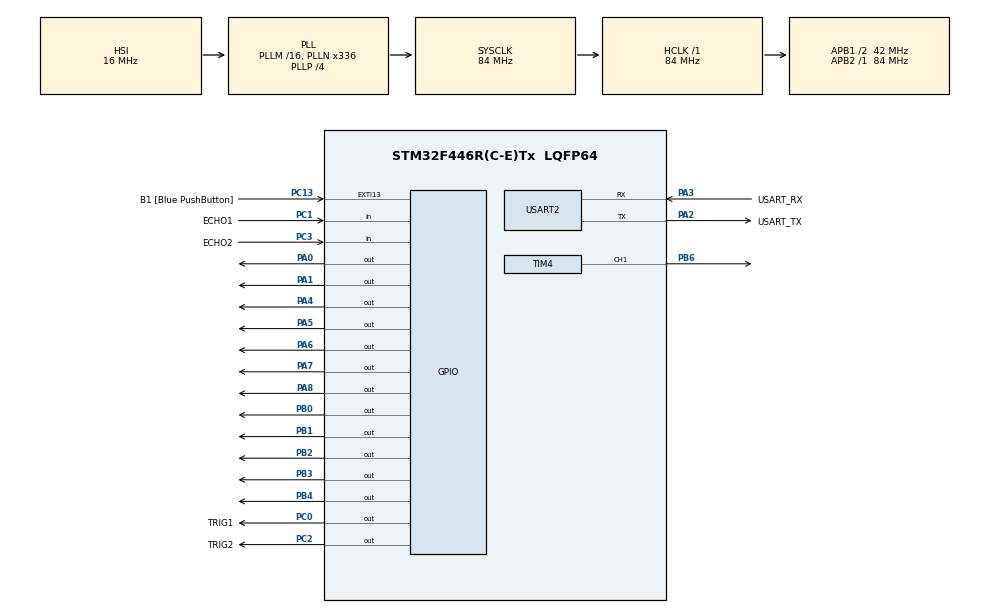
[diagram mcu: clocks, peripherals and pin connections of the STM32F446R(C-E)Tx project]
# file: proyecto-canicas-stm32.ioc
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Mcu.Family=STM32F4
Mcu.Name=STM32F446R(C-E)Tx
Mcu.Package=LQFP64
NVIC.EXTI15_10_IRQn=true\:0\:0\:false\:false\:true\:true\:true\:true
NVIC.PriorityGroup=NVIC_PRIORITYGROUP_0
NVIC.TIM2_IRQn=true\:0\:0\:false\:false\:true\:true\:true\:true
NVIC.USART2_IRQn=true\:0\:0\:false\:false\:true\:true\:true\:true
PA0-WKUP.Signal=GPIO_Output
PA1.Signal=GPIO_Output
PA13.GPIO_Label=TMS
PA13.Mode=Serial_Wire
PA13.Signal=SYS_JTMS-SWDIO
PA14.GPIO_Label=TCK
PA14.Mode=Serial_Wire
PA14.Signal=SYS_JTCK-SWCLK
PA2.GPIO_Label=USART_TX
PA2.Mode=Asynchronous
PA2.Signal=USART2_TX
PA3.GPIO_Label=USART_RX
PA3.Mode=Asynchronous
PA3.Signal=USART2_RX
PA4.Signal=GPIO_Output
PA5.Signal=GPIO_Output
PA6.Signal=GPIO_Output
PA7.Signal=GPIO_Output
PA8.Signal=GPIO_Output
PB0.Signal=GPIO_Output
PB1.Signal=GPIO_Output
PB2.Signal=GPIO_Output
PB3.Signal=GPIO_Output
PB4.Signal=GPIO_Output
PB6.Signal=S_TIM4_CH1
PC0.GPIO_Label=TRIG1
PC0.Signal=GPIO_Output
PC1.GPIO_Label=ECHO1
PC1.Signal=GPIO_Input
PC13.GPIO_Label=B1 [Blue PushButton]
PC13.GPIO_ModeDefaultEXTI=GPIO_MODE_IT_FALLING
PC13.Signal=GPXTI13
PC14-OSC32_IN.Mode=LSE-External-Oscillator
PC14-OSC32_IN.Signal=RCC_OSC32_IN
PC15-OSC32_OUT.Mode=LSE-External-Oscillator
PC15-OSC32_OUT.Signal=RCC_OSC32_OUT
PC2.GPIO_Label=TRIG2
PC2.Signal=GPIO_Output
PC3.GPIO_Label=ECHO2
PC3.Signal=GPIO_Input
PH0-OSC_IN.Mode=HSE-External-Oscillator
PH0-OSC_IN.Signal=RCC_OSC_IN
PH1-OSC_OUT.Mode=HSE-External-Oscillator
PH1-OSC_OUT.Signal=RCC_OSC_OUT
ProjectManager.HeapSize=0x200
ProjectManager.StackSize=0x400
ProjectManager.TargetToolchain=STM32CubeIDE
RCC.48MHZClocksFreq_Value=84000000
RCC.AHBFreq_Value=84000000
RCC.APB1CLKDivider=RCC_HCLK_DIV2
RCC.APB1Freq_Value=42000000
RCC.APB1TimFreq_Value=84000000
RCC.APB2Freq_Value=84000000
RCC.APB2TimFreq_Value=84000000
RCC.CortexFreq_Value=84000000
RCC.FLatency-AdvancedSettings=FLASH_LATENCY_2
RCC.HCLKFreq_Value=84000000
RCC.HSE_VALUE=8000000
RCC.HSI_VALUE=16000000
RCC.PLLN=336
RCC.PLLP=RCC_PLLP_DIV4
RCC.SYSCLKFreq_VALUE=84000000
RCC.SYSCLKSource=RCC_SYSCLKSOURCE_PLLCLK
RCC.USBFreq_Value=168000000
RCC.VCOOutputFreq_Value=336000000
SH.S_TIM4_CH1.0=TIM4_CH1,PWM Generation1 CH1
TIM2.Period=2000-1
TIM2.Prescaler=84-1
TIM3.Prescaler=84-1
TIM4.Channel-PWM\ Generation1\ CH1=TIM_CHANNEL_1
TIM4.Period=20000-1
TIM4.Prescaler=84-1
USART2.VirtualMode=VM_ASYNC
VP_TIM2_VS_ClockSourceINT.Mode=Internal
VP_TIM3_VS_ClockSourceINT.Mode=Internal
VP_TIM4_VS_ClockSourceINT.Mode=Internal
board=NUCLEO-F446RE

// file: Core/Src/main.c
/* USER CODE BEGIN Header */
/**
  ******************************************************************************
  * @file           : main.c
  * @brief          : Main program body
  ******************************************************************************
  * @attention
  *
  * Copyright (c) 2025 STMicroelectronics.
  * All rights reserved.
  *
  * This software is licensed under terms that can be found in the LICENSE file
  * in the root directory of this software component.
  * If no LICENSE file comes with this software, it is provided AS-IS.
  *
  ******************************************************************************
  */
/* USER CODE END Header */
#include "main.h"

/* USER CODE BEGIN Includes */
#include <string.h>
#include <stdlib.h>
#include <stdio.h>
#include <stdbool.h>
/* USER CODE END Includes */

TIM_HandleTypeDef htim2;
TIM_HandleTypeDef htim3;
TIM_HandleTypeDef htim4;

UART_HandleTypeDef huart2;

/* USER CODE BEGIN PV */

// --- VARIABLES UART ---
#define RX_BUFFER_SIZE 32
uint8_t rx_byte;               // Donde cae el byte que acaba de llegar
uint8_t rx_buffer[RX_BUFFER_SIZE]; // Donde armamos la frase completa
uint8_t rx_index = 0;          // Posición actual en el buffer
volatile uint8_t comando_listo = 0; // Bandera: 1 = ¡Llegó una orden completa!
/* USER CODE END PV */

void SystemClock_Config(void);
static void MX_GPIO_Init(void);
static void MX_USART2_UART_Init(void);
static void MX_TIM2_Init(void);
static void MX_TIM4_Init(void);
static void MX_TIM3_Init(void);

/* USER CODE BEGIN 0 */
// ESTA SECCIÓN AHORA CONTIENE TODAS LAS DEFINICIONES GLOBALES DE MOTORES Y EL SERVO

// --- VARIABLES DE ESTADO ---
volatile int32_t pasos_restantes_horiz = 0;

volatile int32_t pasos_restantes_v_izq = 0; // Motor M1
volatile int32_t pasos_restantes_v_der = 0; // Motor M2

// --- CONTADOR DE CANICAS (DOS SENSORES HC-SR04) ---

int canicasEntrada  = 0;
int canicasSalida   = 0;
int canicasActuales = 0;

bool canicaDetectada1 = false;
bool canicaDetectada2 = false;

const int distanciaSinCanica = 20;
const int umbralDeteccion    = 5;
const int distanciaMinima    = 2;

uint32_t tiempoUltimaDeteccion1 = 0;
uint32_t tiempoUltimaDeteccion2 = 0;
const uint32_t tiempoEspera     = 500;

uint32_t tiempoUltimaMuestra    = 0;
const uint32_t intervaloMuestreo = 100;

uint32_t tiempoUltimoEstado     = 0;
const uint32_t intervaloEstado  = 2000;

// Índices de paso actuales (0-7) para cada motor
volatile int8_t idx_h = 0;
volatile int8_t idx_vL = 0;
volatile int8_t idx_vR = 0;

// Secuencia Half-Step (8 pasos)
const uint8_t sequence[8][4] = {
  {1,0,0,0}, {1,1,0,0}, {0,1,0,0}, {0,1,1,0},
  {0,0,1,0}, {0,0,1,1}, {0,0,0,1}, {1,0,0,1}
};

// --- SERVO CONFIG ---
#define SERVO_MIN_PULSE 500
#define SERVO_MAX_PULSE 2500
#define SERVO_ANGULO_CERRADO 65  // Posición de reposo/transporte
#define SERVO_ANGULO_ABIERTO 25  // Posición de volcado

void stepper_write(int motor_id, int step_index) {
    const uint8_t* p = sequence[step_index % 8];

    // Motor 0: Horizontal (PA0, PA1, PA4, PB0)
    if(motor_id == 0) {
        HAL_GPIO_WritePin(GPIOA, GPIO_PIN_0, p[0]?GPIO_PIN_SET:GPIO_PIN_RESET);
        HAL_GPIO_WritePin(GPIOA, GPIO_PIN_1, p[1]?GPIO_PIN_SET:GPIO_PIN_RESET);
        HAL_GPIO_WritePin(GPIOA, GPIO_PIN_4, p[2]?GPIO_PIN_SET:GPIO_PIN_RESET);
        HAL_GPIO_WritePin(GPIOB, GPIO_PIN_0, p[3]?GPIO_PIN_SET:GPIO_PIN_RESET);
    }
    // Motor 1: Vertical Izquierdo (PA5, PA6, PA7, PA8)
    else if(motor_id == 1) {
        HAL_GPIO_WritePin(GPIOA, GPIO_PIN_5, p[0]?GPIO_PIN_SET:GPIO_PIN_RESET);
        HAL_GPIO_WritePin(GPIOA, GPIO_PIN_6, p[1]?GPIO_PIN_SET:GPIO_PIN_RESET);
        HAL_GPIO_WritePin(GPIOA, GPIO_PIN_7, p[2]?GPIO_PIN_SET:GPIO_PIN_RESET);
        HAL_GPIO_WritePin(GPIOA, GPIO_PIN_8, p[3]?GPIO_PIN_SET:GPIO_PIN_RESET);
    }
    // Motor 2: Vertical Derecho (PB1, PB2, PB3, PB4)
    else if(motor_id == 2) {
        HAL_GPIO_WritePin(GPIOB, GPIO_PIN_1, p[0]?GPIO_PIN_SET:GPIO_PIN_RESET);
        HAL_GPIO_WritePin(GPIOB, GPIO_PIN_2, p[1]?GPIO_PIN_SET:GPIO_PIN_RESET);
        HAL_GPIO_WritePin(GPIOB, GPIO_PIN_3, p[2]?GPIO_PIN_SET:GPIO_PIN_RESET);
        HAL_GPIO_WritePin(GPIOB, GPIO_PIN_4, p[3]?GPIO_PIN_SET:GPIO_PIN_RESET);
    }
}

void Mover_Horizontal(int32_t pasos) {
    pasos_restantes_horiz = pasos; // + Derecha, - Izquierda
}

// Mover AMBOS (Comando V normal)
void Mover_Vertical_Sync(int32_t pasos) {
    pasos_restantes_v_izq = pasos;
    pasos_restantes_v_der = pasos;
}

// Mover SOLO IZQUIERDA (Nuevo Comando L)
void Mover_Vertical_L(int32_t pasos) {
    pasos_restantes_v_izq = pasos;
}

// Mover SOLO DERECHA (Nuevo Comando R)
void Mover_Vertical_R(int32_t pasos) {
    pasos_restantes_v_der = pasos;
}

void Mover_Servo(uint16_t angulo) {
    // Protección de límites físicos (0 a 270)
    if (angulo > 270) angulo = 270;

    // Cálculo del ancho de pulso (Pulse Width)
    // Formula: Pulso = Offset + (Angulo * (Rango / Max_Grados))
    uint32_t pulso = SERVO_MIN_PULSE + (angulo * 2000 / 270);

    // Actualizar el registro CCR1 del Timer 4
    __HAL_TIM_SET_COMPARE(&htim4, TIM_CHANNEL_1, pulso);
}

// --- FUNCIÓN CRÍTICA DE INTERRUPCIÓN ---
void HAL_TIM_PeriodElapsedCallback(TIM_HandleTypeDef *htim) {
    if (htim->Instance == TIM2) {

        // 1. Motor Horizontal (Sin cambios)
        if (pasos_restantes_horiz != 0) {
            int8_t dir = (pasos_restantes_horiz > 0) ? 1 : -1;
            idx_h = (idx_h + 8 + dir) % 8;
            stepper_write(0, idx_h);
            pasos_restantes_horiz -= dir;
        }

        // 2. Motor Vertical IZQUIERDO (M1) - Independiente
        if (pasos_restantes_v_izq != 0) {
            int8_t dir_L = (pasos_restantes_v_izq > 0) ? 1 : -1; // 1=Subir
            idx_vL = (idx_vL + 8 + dir_L) % 8;
            stepper_write(1, idx_vL);
            pasos_restantes_v_izq -= dir_L;
        }

        // 3. Motor Vertical DERECHO (M2) - Independiente
        if (pasos_restantes_v_der != 0) {
            // NOTA: M2 está montado en espejo, su giro físico debe ser opuesto a M1 para subir.
            // Si 'pasos_restantes' es positivo (queremos subir), dir_fisica debe ser negativa.
            int8_t dir_input = (pasos_restantes_v_der > 0) ? 1 : -1;
            int8_t dir_R = -dir_input; // INVERSION FISICA

            idx_vR = (idx_vR + 8 + dir_R) % 8;
            stepper_write(2, idx_vR);
            pasos_restantes_v_der -= dir_input; // Restamos la intención lógica
        }
    }
}

// ================== ULTRASONIDO: MEDICIÓN ==================
//
// Usamos TIM3 como contador a 1 MHz (1 tick = 1 µs).
// TIM3 ya está configurado y arrancado en USER CODE 2.

float MedirDistancia_cm(uint8_t sensor_id)
{
    GPIO_TypeDef *trig_port;
    uint16_t trig_pin;
    GPIO_TypeDef *echo_port;
    uint16_t echo_pin;

    if (sensor_id == 1)
    {
        trig_port = TRIG1_GPIO_Port;
        trig_pin  = TRIG1_Pin;
        echo_port = ECHO1_GPIO_Port;
        echo_pin  = ECHO1_Pin;
    }
    else
    {
        trig_port = TRIG2_GPIO_Port;
        trig_pin  = TRIG2_Pin;
        echo_port = ECHO2_GPIO_Port;
        echo_pin  = ECHO2_Pin;
    }

    // Asegurar TRIG en bajo
    HAL_GPIO_WritePin(trig_port, trig_pin, GPIO_PIN_RESET);
    HAL_Delay(2); // 2 ms para estabilizar

    // Generar pulso de 10 µs en TRIG usando TIM3
    __HAL_TIM_SET_COUNTER(&htim3, 0);
    HAL_GPIO_WritePin(trig_port, trig_pin, GPIO_PIN_SET);
    while (__HAL_TIM_GET_COUNTER(&htim3) < 10); // 10 µs
    HAL_GPIO_WritePin(trig_port, trig_pin, GPIO_PIN_RESET);

    // Esperar flanco de subida en ECHO (máx 30 ms)
    const uint32_t timeout_us = 30000; // 30,000 µs
    __HAL_TIM_SET_COUNTER(&htim3, 0);

    while (HAL_GPIO_ReadPin(echo_port, echo_pin) == GPIO_PIN_RESET)
    {
        if (__HAL_TIM_GET_COUNTER(&htim3) > timeout_us)
        {
            return -1.0f; // Timeout: sin eco
        }
    }

    // Medir tiempo en alto del pulso ECHO
    __HAL_TIM_SET_COUNTER(&htim3, 0);
    while (HAL_GPIO_ReadPin(echo_port, echo_pin) == GPIO_PIN_SET)
    {
        if (__HAL_TIM_GET_COUNTER(&htim3) > timeout_us)
        {
            return -1.0f; // Timeout: pulso demasiado largo
        }
    }

    uint32_t duracion_us = __HAL_TIM_GET_COUNTER(&htim3);

    // Convertir a distancia en cm (velocidad sonido 343 m/s)
    float distancia = (duracion_us * 0.0343f) / 2.0f; // ida y vuelta

    return distancia;
}

// ================== ULTRASONIDO: ENVÍO A RASPBERRY ==================
//
// Formato de mensaje (una línea por evento):
//   #IN,entradas,salidas,actuales\n
//   #OUT,entradas,salidas,actuales\n
//
// La Raspi simplemente escucha y parsea las líneas que empiezan con "#".

void EnviarEventoCanica(const char *tipo)  // tipo = "IN" o "OUT"
{
    char msg[64];
    int len = snprintf(msg, sizeof(msg),
                       "#%s,%d,%d,%d\n",
                       tipo,
                       canicasEntrada,
                       canicasSalida,
                       canicasActuales);

    if (len > 0)
    {
        HAL_UART_Transmit(&huart2, (uint8_t*)msg, (uint16_t)len, 50);
    }
}

/* USER CODE END 0 */

int main(void)
{

  /* MCU Configuration--------------------------------------------------------*/

  /* Reset of all peripherals, Initializes the Flash interface and the Systick. */
  HAL_Init();

  /* Configure the system clock */
  SystemClock_Config();

  /* Initialize all configured peripherals */
  MX_GPIO_Init();
  MX_USART2_UART_Init();
  MX_TIM2_Init();
  MX_TIM4_Init();
  MX_TIM3_Init();
  /* USER CODE BEGIN 2 */
    HAL_TIM_Base_Start_IT(&htim2); // Iniciar Timer Pasos
    HAL_TIM_PWM_Start(&htim4, TIM_CHANNEL_1); // Iniciar PWM Servo
    HAL_TIM_Base_Start(&htim3);   // Iniciar TIM3 como contador libre (1 MHz) para ultrasonidos

    HAL_UART_Receive_IT(&huart2, &rx_byte, 1); // Iniciar UART

    // POSICION INICIAL SEGURA (CERRADO = 65 grados)
    Mover_Servo(SERVO_ANGULO_CERRADO);

  /* USER CODE END 2 */

  /* Infinite loop */
  /* USER CODE BEGIN WHILE */
    while (1)
    {
        // ====================== ULTRASONIDO: MEDICIÓN Y CONTEO ======================
        uint32_t ahora = HAL_GetTick();

        // Medimos solo cada 'intervaloMuestreo' ms para no saturar
        if (ahora - tiempoUltimaMuestra >= intervaloMuestreo)
        {
            tiempoUltimaMuestra = ahora;

            // ----- SENSOR 1: ENTRADA -----
            float d1 = MedirDistancia_cm(1);

            if (d1 > 0 &&
                d1 > distanciaMinima &&
                d1 < (distanciaSinCanica - umbralDeteccion))
            {
                // Canica detectada en ENTRADA
                if (!canicaDetectada1 &&
                    (ahora - tiempoUltimaDeteccion1 > tiempoEspera))
                {
                    canicasEntrada++;
                    canicasActuales++;
                    canicaDetectada1 = true;
                    tiempoUltimaDeteccion1 = ahora;

                    EnviarEventoCanica("IN");
                }
            }
            else
            {
                canicaDetectada1 = false;
            }

            // ----- SENSOR 2: SALIDA -----
            float d2 = MedirDistancia_cm(2);

            if (d2 > 0 &&
                d2 > distanciaMinima &&
                d2 < (distanciaSinCanica - umbralDeteccion))
            {
                // Canica detectada en SALIDA
                if (!canicaDetectada2 &&
                    (ahora - tiempoUltimaDeteccion2 > tiempoEspera))
                {
                    canicasSalida++;
                    if (canicasActuales > 0)
                    {
                        canicasActuales--;
                    }
                    canicaDetectada2 = true;
                    tiempoUltimaDeteccion2 = ahora;

                    EnviarEventoCanica("OUT");
                }
            }
            else
            {
                canicaDetectada2 = false;
            }
        }

        // No usar delays aquí; los motores se mueven por TIM2 interrupt
    }
    /* USER CODE END WHILE */

  }

void SystemClock_Config(void)
{
  RCC_OscInitTypeDef RCC_OscInitStruct = {0};
  RCC_ClkInitTypeDef RCC_ClkInitStruct = {0};

  /** Configure the main internal regulator output voltage
  */
  __HAL_RCC_PWR_CLK_ENABLE();
  __HAL_PWR_VOLTAGESCALING_CONFIG(PWR_REGULATOR_VOLTAGE_SCALE3);

  /** Initializes the RCC Oscillators according to the specified parameters
  * in the RCC_OscInitTypeDef structure.
  */
  RCC_OscInitStruct.OscillatorType = RCC_OSCILLATORTYPE_HSI;
  RCC_OscInitStruct.HSIState = RCC_HSI_ON;
  RCC_OscInitStruct.HSICalibrationValue = RCC_HSICALIBRATION_DEFAULT;
  RCC_OscInitStruct.PLL.PLLState = RCC_PLL_ON;
  RCC_OscInitStruct.PLL.PLLSource = RCC_PLLSOURCE_HSI;
  RCC_OscInitStruct.PLL.PLLM = 16;
  RCC_OscInitStruct.PLL.PLLN = 336;
  RCC_OscInitStruct.PLL.PLLP = RCC_PLLP_DIV4;
  RCC_OscInitStruct.PLL.PLLQ = 2;
  RCC_OscInitStruct.PLL.PLLR = 2;
  if (HAL_RCC_OscConfig(&RCC_OscInitStruct) != HAL_OK)
  {
    Error_Handler();
  }

  /** Initializes the CPU, AHB and APB buses clocks
  */
  RCC_ClkInitStruct.ClockType = RCC_CLOCKTYPE_HCLK|RCC_CLOCKTYPE_SYSCLK
                              |RCC_CLOCKTYPE_PCLK1|RCC_CLOCKTYPE_PCLK2;
  RCC_ClkInitStruct.SYSCLKSource = RCC_SYSCLKSOURCE_PLLCLK;
  RCC_ClkInitStruct.AHBCLKDivider = RCC_SYSCLK_DIV1;
  RCC_ClkInitStruct.APB1CLKDivider = RCC_HCLK_DIV2;
  RCC_ClkInitStruct.APB2CLKDivider = RCC_HCLK_DIV1;

  if (HAL_RCC_ClockConfig(&RCC_ClkInitStruct, FLASH_LATENCY_2) != HAL_OK)
  {
    Error_Handler();
  }
}

static void MX_TIM2_Init(void)
{

  TIM_ClockConfigTypeDef sClockSourceConfig = {0};
  TIM_MasterConfigTypeDef sMasterConfig = {0};

  htim2.Instance = TIM2;
  htim2.Init.Prescaler = 84-1;
  htim2.Init.CounterMode = TIM_COUNTERMODE_UP;
  htim2.Init.Period = 2000-1;
  htim2.Init.ClockDivision = TIM_CLOCKDIVISION_DIV1;
  htim2.Init.AutoReloadPreload = TIM_AUTORELOAD_PRELOAD_DISABLE;
  if (HAL_TIM_Base_Init(&htim2) != HAL_OK)
  {
    Error_Handler();
  }
  sClockSourceConfig.ClockSource = TIM_CLOCKSOURCE_INTERNAL;
  if (HAL_TIM_ConfigClockSource(&htim2, &sClockSourceConfig) != HAL_OK)
  {
    Error_Handler();
  }
  sMasterConfig.MasterOutputTrigger = TIM_TRGO_RESET;
  sMasterConfig.MasterSlaveMode = TIM_MASTERSLAVEMODE_DISABLE;
  if (HAL_TIMEx_MasterConfigSynchronization(&htim2, &sMasterConfig) != HAL_OK)
  {
    Error_Handler();
  }

}

static void MX_TIM3_Init(void)
{

  TIM_ClockConfigTypeDef sClockSourceConfig = {0};
  TIM_MasterConfigTypeDef sMasterConfig = {0};

  htim3.Instance = TIM3;
  htim3.Init.Prescaler = 84-1;
  htim3.Init.CounterMode = TIM_COUNTERMODE_UP;
  htim3.Init.Period = 65535;
  htim3.Init.ClockDivision = TIM_CLOCKDIVISION_DIV1;
  htim3.Init.AutoReloadPreload = TIM_AUTORELOAD_PRELOAD_DISABLE;
  if (HAL_TIM_Base_Init(&htim3) != HAL_OK)
  {
    Error_Handler();
  }
  sClockSourceConfig.ClockSource = TIM_CLOCKSOURCE_INTERNAL;
  if (HAL_TIM_ConfigClockSource(&htim3, &sClockSourceConfig) != HAL_OK)
  {
    Error_Handler();
  }
  sMasterConfig.MasterOutputTrigger = TIM_TRGO_RESET;
  sMasterConfig.MasterSlaveMode = TIM_MASTERSLAVEMODE_DISABLE;
  if (HAL_TIMEx_MasterConfigSynchronization(&htim3, &sMasterConfig) != HAL_OK)
  {
    Error_Handler();
  }

}

static void MX_TIM4_Init(void)
{

  TIM_ClockConfigTypeDef sClockSourceConfig = {0};
  TIM_MasterConfigTypeDef sMasterConfig = {0};
  TIM_OC_InitTypeDef sConfigOC = {0};

  htim4.Instance = TIM4;
  htim4.Init.Prescaler = 84-1;
  htim4.Init.CounterMode = TIM_COUNTERMODE_UP;
  htim4.Init.Period = 20000-1;
  htim4.Init.ClockDivision = TIM_CLOCKDIVISION_DIV1;
  htim4.Init.AutoReloadPreload = TIM_AUTORELOAD_PRELOAD_DISABLE;
  if (HAL_TIM_Base_Init(&htim4) != HAL_OK)
  {
    Error_Handler();
  }
  sClockSourceConfig.ClockSource = TIM_CLOCKSOURCE_INTERNAL;
  if (HAL_TIM_ConfigClockSource(&htim4, &sClockSourceConfig) != HAL_OK)
  {
    Error_Handler();
  }
  if (HAL_TIM_PWM_Init(&htim4) != HAL_OK)
  {
    Error_Handler();
  }
  sMasterConfig.MasterOutputTrigger = TIM_TRGO_RESET;
  sMasterConfig.MasterSlaveMode = TIM_MASTERSLAVEMODE_DISABLE;
  if (HAL_TIMEx_MasterConfigSynchronization(&htim4, &sMasterConfig) != HAL_OK)
  {
    Error_Handler();
  }
  sConfigOC.OCMode = TIM_OCMODE_PWM1;
  sConfigOC.Pulse = 0;
  sConfigOC.OCPolarity = TIM_OCPOLARITY_HIGH;
  sConfigOC.OCFastMode = TIM_OCFAST_DISABLE;
  if (HAL_TIM_PWM_ConfigChannel(&htim4, &sConfigOC, TIM_CHANNEL_1) != HAL_OK)
  {
    Error_Handler();
  }
  HAL_TIM_MspPostInit(&htim4);

}

static void MX_USART2_UART_Init(void)
{

  huart2.Instance = USART2;
  huart2.Init.BaudRate = 115200;
  huart2.Init.WordLength = UART_WORDLENGTH_8B;
  huart2.Init.StopBits = UART_STOPBITS_1;
  huart2.Init.Parity = UART_PARITY_NONE;
  huart2.Init.Mode = UART_MODE_TX_RX;
  huart2.Init.HwFlowCtl = UART_HWCONTROL_NONE;
  huart2.Init.OverSampling = UART_OVERSAMPLING_16;
  if (HAL_UART_Init(&huart2) != HAL_OK)
  {
    Error_Handler();
  }

}

static void MX_GPIO_Init(void)
{
  GPIO_InitTypeDef GPIO_InitStruct = {0};

  /* GPIO Ports Clock Enable */
  __HAL_RCC_GPIOC_CLK_ENABLE();
  __HAL_RCC_GPIOH_CLK_ENABLE();
  __HAL_RCC_GPIOA_CLK_ENABLE();
  __HAL_RCC_GPIOB_CLK_ENABLE();

  /*Configure GPIO pin Output Level */
  HAL_GPIO_WritePin(GPIOC, TRIG1_Pin|TRIG2_Pin, GPIO_PIN_RESET);

  /*Configure GPIO pin Output Level */
  HAL_GPIO_WritePin(GPIOA, GPIO_PIN_0|GPIO_PIN_1|GPIO_PIN_4|GPIO_PIN_5
                          |GPIO_PIN_6|GPIO_PIN_7|GPIO_PIN_8, GPIO_PIN_RESET);

  /*Configure GPIO pin Output Level */
  HAL_GPIO_WritePin(GPIOB, GPIO_PIN_0|GPIO_PIN_1|GPIO_PIN_2|GPIO_PIN_3
                          |GPIO_PIN_4, GPIO_PIN_RESET);

  /*Configure GPIO pin : B1_Pin */
  GPIO_InitStruct.Pin = B1_Pin;
  GPIO_InitStruct.Mode = GPIO_MODE_IT_FALLING;
  GPIO_InitStruct.Pull = GPIO_NOPULL;
  HAL_GPIO_Init(B1_GPIO_Port, &GPIO_InitStruct);

  /*Configure GPIO pins : TRIG1_Pin TRIG2_Pin */
  GPIO_InitStruct.Pin = TRIG1_Pin|TRIG2_Pin;
  GPIO_InitStruct.Mode = GPIO_MODE_OUTPUT_PP;
  GPIO_InitStruct.Pull = GPIO_NOPULL;
  GPIO_InitStruct.Speed = GPIO_SPEED_FREQ_LOW;
  HAL_GPIO_Init(GPIOC, &GPIO_InitStruct);

  /*Configure GPIO pins : ECHO1_Pin ECHO2_Pin */
  GPIO_InitStruct.Pin = ECHO1_Pin|ECHO2_Pin;
  GPIO_InitStruct.Mode = GPIO_MODE_INPUT;
  GPIO_InitStruct.Pull = GPIO_NOPULL;
  HAL_GPIO_Init(GPIOC, &GPIO_InitStruct);

  /*Configure GPIO pins : PA0 PA1 PA4 PA5
                           PA6 PA7 PA8 */
  GPIO_InitStruct.Pin = GPIO_PIN_0|GPIO_PIN_1|GPIO_PIN_4|GPIO_PIN_5
                          |GPIO_PIN_6|GPIO_PIN_7|GPIO_PIN_8;
  GPIO_InitStruct.Mode = GPIO_MODE_OUTPUT_PP;
  GPIO_InitStruct.Pull = GPIO_NOPULL;
  GPIO_InitStruct.Speed = GPIO_SPEED_FREQ_LOW;
  HAL_GPIO_Init(GPIOA, &GPIO_InitStruct);

  /*Configure GPIO pins : PB0 PB1 PB2 PB3
                           PB4 */
  GPIO_InitStruct.Pin = GPIO_PIN_0|GPIO_PIN_1|GPIO_PIN_2|GPIO_PIN_3
                          |GPIO_PIN_4;
  GPIO_InitStruct.Mode = GPIO_MODE_OUTPUT_PP;
  GPIO_InitStruct.Pull = GPIO_NOPULL;
  GPIO_InitStruct.Speed = GPIO_SPEED_FREQ_LOW;
  HAL_GPIO_Init(GPIOB, &GPIO_InitStruct);

  /* EXTI interrupt init*/
  HAL_NVIC_SetPriority(EXTI15_10_IRQn, 0, 0);
  HAL_NVIC_EnableIRQ(EXTI15_10_IRQn);

}

/* USER CODE BEGIN 4 */
// Callback: Se llama cada vez que llega un byte por UART
void HAL_UART_RxCpltCallback(UART_HandleTypeDef *huart)
{
  // Verificar que la interrupción viene del UART2 (USB)
  if (huart->Instance == USART2)
  {
    // CASO 1: Recibimos el caracter de final de linea ('\n')
    // Aquí es donde procesamos el comando completo
    if (rx_byte == '\n')
    {
      rx_buffer[rx_index] = '\0'; // Terminamos el string
      rx_index = 0;               // Reiniciamos índice para el próximo

      // --- PARSEO DE COMANDOS ---
      char cmd_char = rx_buffer[0];           // La letra (H, V, S)
      int valor = atoi((char*)&rx_buffer[1]); // El número (convertido a int)

      // Ejecutar directamente usando tus funciones existentes
      if (cmd_char == 'H' || cmd_char == 'h')
      {
          Mover_Horizontal(valor);
      }

      else if (cmd_char == 'V' || cmd_char == 'v')
      {
          Mover_Vertical_Sync(valor); // Mueve ambos
      }
      // Solo Izquierda
      else if (cmd_char == 'L' || cmd_char == 'l')
      {
          Mover_Vertical_L(valor);
      }
      // Solo Derecha
      else if (cmd_char == 'R' || cmd_char == 'r')
      {
          Mover_Vertical_R(valor);
      }

      // CONTROL DE SERVO
      else if (cmd_char == 'S' || cmd_char == 's')
      {
          Mover_Servo(valor);
      }

      // --- RESET DE CONTADORES DE CANICAS ---
       else if (cmd_char == 'C' || cmd_char == 'c')
       {
           canicasEntrada  = 0;
           canicasSalida   = 0;
           canicasActuales = 0;
           canicaDetectada1 = false;
           canicaDetectada2 = false;

           // Opcional: notificar a la Raspberry que se ha reseteado
           const char *msg = "#RST\n";
           HAL_UART_Transmit(&huart2, (uint8_t*)msg, strlen(msg), 50);
       }
    }
    // CASO 2: Buffer lleno (Seguridad)
    else if (rx_index >= RX_BUFFER_SIZE - 1)
    {
        rx_index = 0; // Reiniciar si se llena sin recibir \n
    }
    // CASO 3: Recibimos un caracter normal
    else
    {
        // Guardar caracter (ignorando el 'Carriage Return' \r de Windows)
        if(rx_byte != '\r')
        {
            rx_buffer[rx_index++] = rx_byte;
        }
    }

    // IMPORTANTE: Volver a activar la escucha para el siguiente byte SIEMPRE
    HAL_UART_Receive_IT(&huart2, &rx_byte, 1);
  }
}
// ... Las funciones de escritura y movimiento de motores estan en USER CODE 0

// Callback para el Botón de Usuario (PC13)
void HAL_GPIO_EXTI_Callback(uint16_t GPIO_Pin)
{
  if (GPIO_Pin == B1_Pin) // Botón Azul (PC13)
  {
      // 1. FRENADO DE EMERGENCIA
      pasos_restantes_horiz = 0;
      pasos_restantes_v_der = 0;
      pasos_restantes_v_izq = 0;

      // 2. SERVO A POSICION SEGURA (Cerrado = 65 grados)
      Mover_Servo(SERVO_ANGULO_CERRADO);
  }
}
/* USER CODE END 4 */

void Error_Handler(void)
{
  __disable_irq();
  while (1)
  {
  }
}
